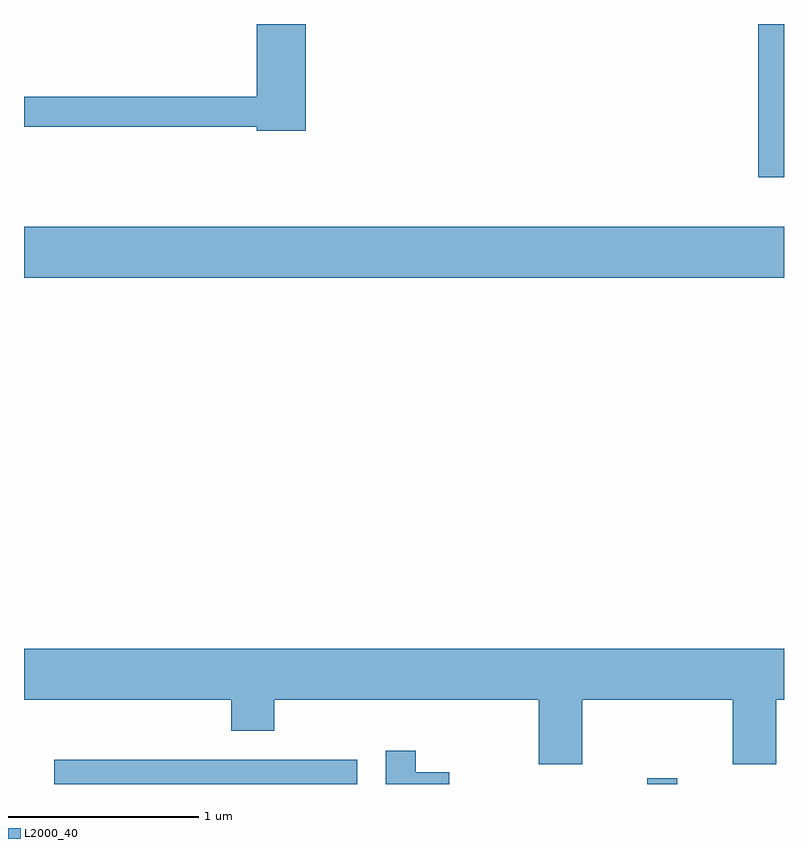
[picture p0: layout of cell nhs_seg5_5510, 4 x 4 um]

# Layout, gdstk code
import gdstk
lib = gdstk.Library(unit=1e-6, precision=1e-09)
def R(c, l, rs):  # rectangles x0, y0, x1, y1
    for r in rs: c.add(gdstk.rectangle(r[:2], r[2:], *l))
def P(c, l, *ps):  # polygons
    for p in ps: c.add(gdstk.Polygon(p, *l))
L2000_40 = (2000, 40)

nhs_seg5_5510 = lib.new_cell('nhs_seg5_5510')
R(nhs_seg5_5510, L2000_40, [(347.771,1514.072,349.364,1514.199), (350.891,1514.072,351.049,1514.103), (347.611,1516.736,351.611,1517.004), (351.476,1517.266,351.611,1518.072)])
P(nhs_seg5_5510, L2000_40, [(349.094,1518.072),(348.836,1518.072),(348.836,1517.689),(347.611,1517.689),(347.611,1517.531),(348.836,1517.531),(348.836,1517.511),(349.094,1517.511)],
  [(350.549,1514.516),(351.341,1514.516),(351.341,1514.176),(351.569,1514.176),(351.569,1514.516),(351.611,1514.516),(351.611,1514.784),(347.611,1514.784),(347.611,1514.516),(348.701,1514.516),(348.701,1514.351),(348.929,1514.351),(348.929,1514.516),(350.321,1514.516),(350.321,1514.176),(350.549,1514.176)],
  [(349.849,1514.134),(349.674,1514.134),(349.674,1514.248),(349.516,1514.248),(349.516,1514.072),(349.849,1514.072)])

lib.write_gds('nhs_seg5_5510.gds')
